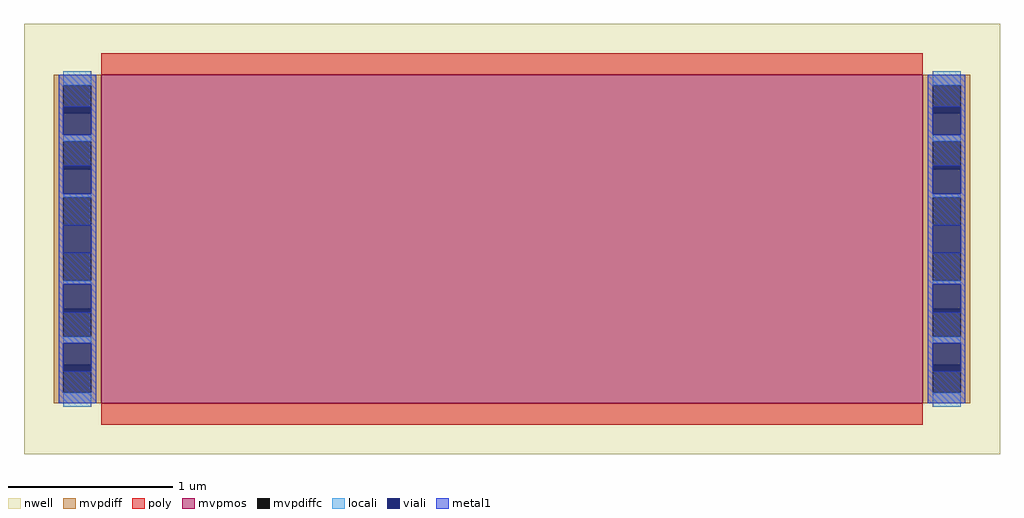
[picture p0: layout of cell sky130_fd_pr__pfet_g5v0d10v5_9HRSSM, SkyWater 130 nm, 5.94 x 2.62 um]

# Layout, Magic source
magic
tech sky130A
magscale 1 2
<< nwell >>
rect -594 -262 594 262
<< mvpmos >>
rect -500 -200 500 200
<< mvpdiff >>
rect -558 187 -500 200
rect -558 153 -546 187
rect -512 153 -500 187
rect -558 119 -500 153
rect -558 85 -546 119
rect -512 85 -500 119
rect -558 51 -500 85
rect -558 17 -546 51
rect -512 17 -500 51
rect -558 -17 -500 17
rect -558 -51 -546 -17
rect -512 -51 -500 -17
rect -558 -85 -500 -51
rect -558 -119 -546 -85
rect -512 -119 -500 -85
rect -558 -153 -500 -119
rect -558 -187 -546 -153
rect -512 -187 -500 -153
rect -558 -200 -500 -187
rect 500 187 558 200
rect 500 153 512 187
rect 546 153 558 187
rect 500 119 558 153
rect 500 85 512 119
rect 546 85 558 119
rect 500 51 558 85
rect 500 17 512 51
rect 546 17 558 51
rect 500 -17 558 17
rect 500 -51 512 -17
rect 546 -51 558 -17
rect 500 -85 558 -51
rect 500 -119 512 -85
rect 546 -119 558 -85
rect 500 -153 558 -119
rect 500 -187 512 -153
rect 546 -187 558 -153
rect 500 -200 558 -187
<< mvpdiffc >>
rect -546 153 -512 187
rect -546 85 -512 119
rect -546 17 -512 51
rect -546 -51 -512 -17
rect -546 -119 -512 -85
rect -546 -187 -512 -153
rect 512 153 546 187
rect 512 85 546 119
rect 512 17 546 51
rect 512 -51 546 -17
rect 512 -119 546 -85
rect 512 -187 546 -153
<< poly >>
rect -500 200 500 226
rect -500 -226 500 -200
<< locali >>
rect -546 187 -512 204
rect -546 119 -512 127
rect -546 51 -512 55
rect -546 -55 -512 -51
rect -546 -127 -512 -119
rect -546 -204 -512 -187
rect 512 187 546 204
rect 512 119 546 127
rect 512 51 546 55
rect 512 -55 546 -51
rect 512 -127 546 -119
rect 512 -204 546 -187
<< viali >>
rect -546 153 -512 161
rect -546 127 -512 153
rect -546 85 -512 89
rect -546 55 -512 85
rect -546 -17 -512 17
rect -546 -85 -512 -55
rect -546 -89 -512 -85
rect -546 -153 -512 -127
rect -546 -161 -512 -153
rect 512 153 546 161
rect 512 127 546 153
rect 512 85 546 89
rect 512 55 546 85
rect 512 -17 546 17
rect 512 -85 546 -55
rect 512 -89 546 -85
rect 512 -153 546 -127
rect 512 -161 546 -153
<< metal1 >>
rect -552 161 -506 200
rect -552 127 -546 161
rect -512 127 -506 161
rect -552 89 -506 127
rect -552 55 -546 89
rect -512 55 -506 89
rect -552 17 -506 55
rect -552 -17 -546 17
rect -512 -17 -506 17
rect -552 -55 -506 -17
rect -552 -89 -546 -55
rect -512 -89 -506 -55
rect -552 -127 -506 -89
rect -552 -161 -546 -127
rect -512 -161 -506 -127
rect -552 -200 -506 -161
rect 506 161 552 200
rect 506 127 512 161
rect 546 127 552 161
rect 506 89 552 127
rect 506 55 512 89
rect 546 55 552 89
rect 506 17 552 55
rect 506 -17 512 17
rect 546 -17 552 17
rect 506 -55 552 -17
rect 506 -89 512 -55
rect 546 -89 552 -55
rect 506 -127 552 -89
rect 506 -161 512 -127
rect 546 -161 552 -127
rect 506 -200 552 -161
<< end >>
